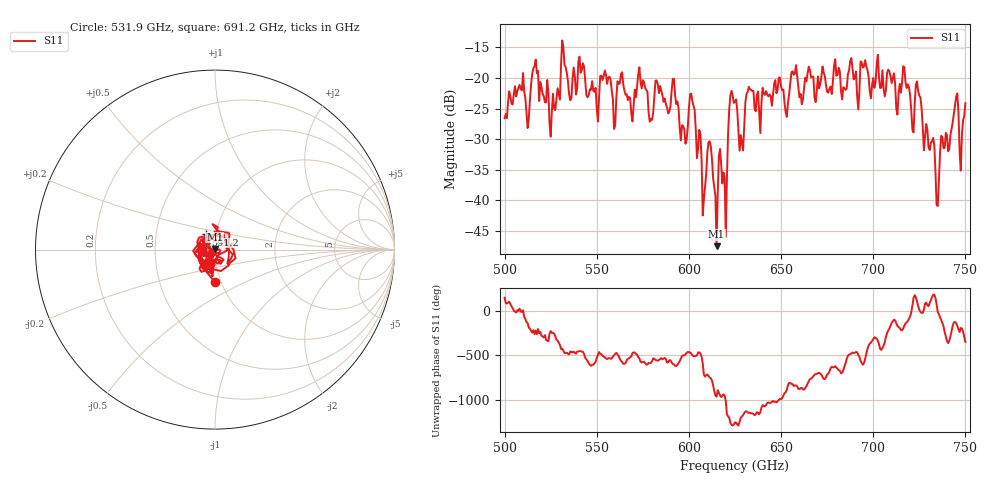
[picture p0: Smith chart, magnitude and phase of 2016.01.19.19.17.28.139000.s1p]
!Created with skrf (http://scikit-rf.org).
# GHz S RI R 50.0
!freq ReS11 ImS11
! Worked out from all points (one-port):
!   401 points, 500 GHz to 750 GHz, reference 50 ohm
!   lowest |S11| = -47.6 dB at 615 GHz (marker M1), VSWR 1.01, Z = 49.8 + j0.378 ohm
!   |S11| at or under -10 dB: start of sweep to end of sweep
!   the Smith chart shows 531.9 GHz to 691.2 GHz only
!   S11 on the Smith chart (normalised r, x): 531.9 GHz: 0.93, -0.35; 591.2 GHz: 0.89, +0.15; 691.2 GHz: 0.95, -0.13
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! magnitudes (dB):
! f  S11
! 500 GHz  -26.6
! 512.5 GHz  -28.2
! 516.9 GHz  -17.0
! 525.6 GHz  -25.5
! 531.2 GHz  -13.8
! 531.9 GHz  -14.9
! 559.4 GHz  -28.4
! 562.5 GHz  -20.9
! 579.4 GHz  -26.7
! 591.2 GHz  -20.1
! 593.8 GHz  -23.8
! 601.9 GHz  -23.8
! 608.1 GHz  -39.8
! 611.2 GHz  -30.4
! 615 GHz  -47.6
! 619.4 GHz  -36.3
! 622.5 GHz  -22.8
! 625 GHz  -23.9
! 628.1 GHz  -29.4
! 632.5 GHz  -21.4
! 656.2 GHz  -18.9
! 687.5 GHz  -17.3
! 691.2 GHz  -22.8
! 718.8 GHz  -21.0
! 735 GHz  -41.0
! 744.4 GHz  -24.4
! 748.1 GHz  -29.3
! 750 GHz  -24.1
